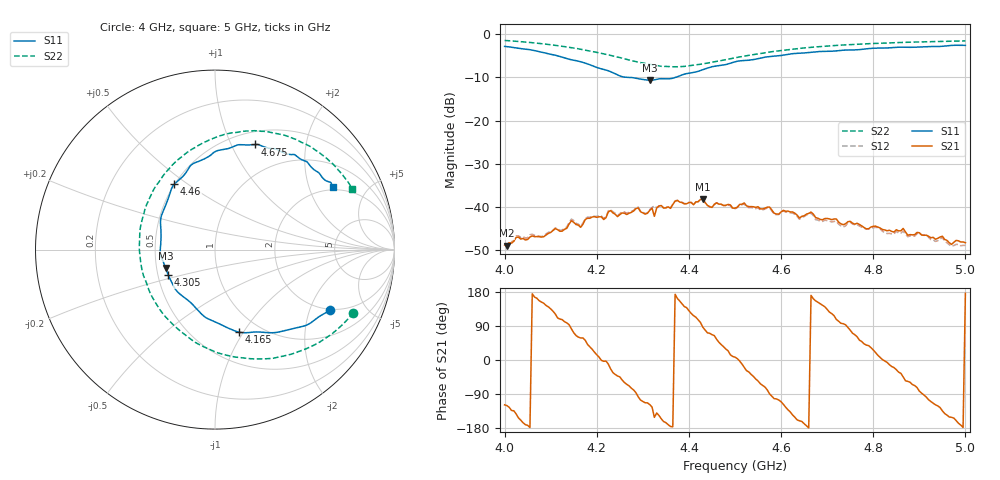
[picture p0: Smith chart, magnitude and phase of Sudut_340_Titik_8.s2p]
# Hz S RI R 50
! CMT, C1220, 16058040, 17.2.0/1
! Date: 15/08/2018 11:45:22
! Data: Format (Calibration Info)
! Freq  S11: Re/Im (F2)  S21: Re/Im (F2)  S12: Re/Im (F2)  S22: Re/Im (F2)
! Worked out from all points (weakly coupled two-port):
!   201 points, 4 GHz to 5 GHz, reference 50 ohm
!   highest |S21| = -38.28 dB at 4.43 GHz (marker M1); lowest = -49.1 dB at 4.005 GHz (marker M2)
!   lowest |S11| = -10.6 dB at 4.315 GHz (marker M3), VSWR 1.83, Z = 27.9 - j6.29 ohm
!   |S11| at or under -10 dB: 4.267 GHz to 4.371 GHz (103.6 MHz wide, 2.4 % of centre)
!   |S22| runs from -7.5 to -1.4 dB; largest |S21 - S12| = 0.0035
!   S11 on the Smith chart (normalised r, x): 4 GHz: 1.96, -2.78; 4.165 GHz: 0.80, -0.96; 4.305 GHz: 0.57, -0.18; 4.46 GHz: 0.50, +0.44; 4.675 GHz: 0.64, +1.24; 5 GHz: 1.87, +2.91
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4e9  0.6408 -0.3369  -0.00169 -0.00315  -0.00156 -0.00326  0.7714 -0.3519
4.005e9  0.6319 -0.3433  -0.00178 -0.00304  -0.00168 -0.00319  0.7626 -0.3632
4.025e9  0.5877 -0.3685  -0.00349 -0.0027  -0.0035 -0.00298  0.7234 -0.4056
4.125e9  0.2843 -0.4619  -0.00148 0.00499  -0.00167 0.0051  0.4378 -0.5786
4.145e9  0.2116 -0.4596  0.000932 0.00681  0.000815 0.00714  0.362 -0.5969
4.165e9  0.1361 -0.4607  0.00305 0.0049  0.0031 0.00501  0.2839 -0.6083
4.17e9  0.1202 -0.4561  0.00331 0.00531  0.00335 0.00554  0.2632 -0.6092
4.23e9  -0.0732 -0.361  0.00828 -0.00359  0.00855 -0.00356  -6.16e-05 -0.5693
4.305e9  -0.2594 -0.1436  -0.00318 -0.00757  -0.00329 -0.00767  -0.2937 -0.3525
4.315e9  -0.2753 -0.103  -0.00422 -0.00805  -0.00441 -0.00814  -0.3235 -0.309
4.325e9  -0.2883 -0.0679  -0.00679 -0.00371  -0.00735 -0.00715  -0.3493 -0.2654
4.335e9  -0.3018 -0.0364  -0.00847 -0.00564  -0.00856 -0.00557  -0.3716 -0.2162
4.43e9  -0.2588 0.2892  0.000687 0.0122  0.000832 0.0121  -0.3839 0.2438
4.45e9  -0.2407 0.3442  0.00385 0.00904  0.004 0.00908  -0.3475 0.3233
4.46e9  -0.2269 0.364  0.0064 0.00906  0.00661 0.00893  -0.3242 0.3612
4.5e9  -0.1436 0.4573  0.00953 0.00127  0.00941 0.00114  -0.2237 0.485
4.52e9  -0.1131 0.4834  0.0104 -0.00369  0.0101 -0.00388  -0.1675 0.532
4.64e9  0.1495 0.5841  -0.00697 -0.00248  -0.00677 -0.00234  0.1829 0.6607
4.67e9  0.2142 0.5847  -0.00779 0.0026  -0.00742 0.00272  0.259 0.6589
4.675e9  0.2224 0.5856  -0.00685 0.00305  -0.00639 0.00302  0.2716 0.659
4.835e9  0.4837 0.5005  0.00522 -0.00113  0.00481 -0.000982  0.5862 0.5359
5e9  0.657 0.3488  -0.00381 0.000266  -0.00356 0.0001  0.7661 0.3381
